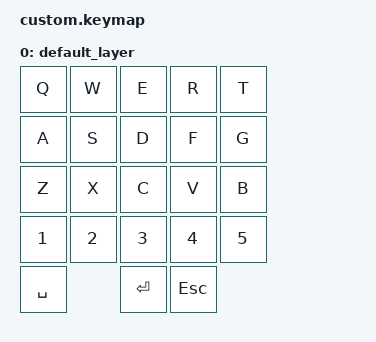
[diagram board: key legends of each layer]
/ {
    keymap {
        compatible = "zmk,keymap";

        default_layer {
            bindings = <
                &kp Q &kp W &kp E &kp R &kp T
                &kp A &kp S &kp D &kp F &kp G
                &kp Z &kp X &kp C &kp V &kp B
                &kp 1 &kp 2 &kp 3 &kp 4 &kp 5
                &kp SPACE &kp ENTER &kp ESC
            >;
        };
    };
};
